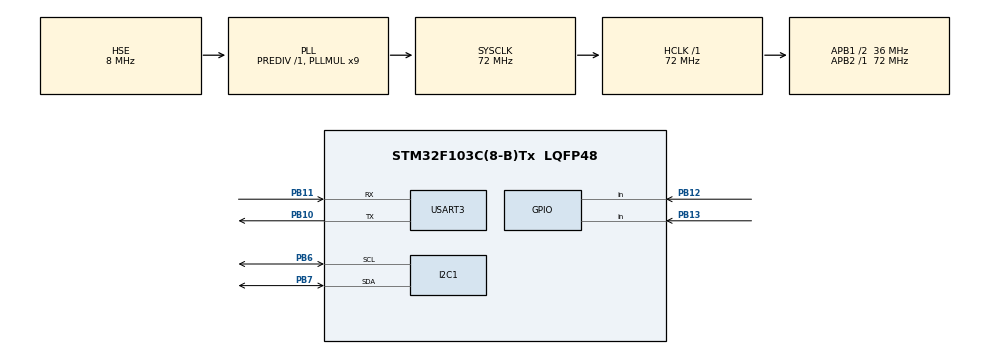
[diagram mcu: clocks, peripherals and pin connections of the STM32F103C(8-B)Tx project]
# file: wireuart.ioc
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Dma.Request0=USART3_TX
Dma.Request1=USART3_RX
Dma.USART3_RX.1.Direction=DMA_PERIPH_TO_MEMORY
Dma.USART3_RX.1.Instance=DMA1_Channel3
Dma.USART3_RX.1.MemDataAlignment=DMA_MDATAALIGN_BYTE
Dma.USART3_RX.1.MemInc=DMA_MINC_ENABLE
Dma.USART3_RX.1.Mode=DMA_NORMAL
Dma.USART3_RX.1.PeriphDataAlignment=DMA_PDATAALIGN_BYTE
Dma.USART3_RX.1.PeriphInc=DMA_PINC_DISABLE
Dma.USART3_RX.1.Priority=DMA_PRIORITY_LOW
Dma.USART3_TX.0.Direction=DMA_MEMORY_TO_PERIPH
Dma.USART3_TX.0.Instance=DMA1_Channel2
Dma.USART3_TX.0.MemDataAlignment=DMA_MDATAALIGN_BYTE
Dma.USART3_TX.0.MemInc=DMA_MINC_ENABLE
Dma.USART3_TX.0.Mode=DMA_NORMAL
Dma.USART3_TX.0.PeriphDataAlignment=DMA_PDATAALIGN_BYTE
Dma.USART3_TX.0.PeriphInc=DMA_PINC_DISABLE
Dma.USART3_TX.0.Priority=DMA_PRIORITY_LOW
I2C1.I2C_Mode=I2C_Fast
Mcu.Family=STM32F1
Mcu.Name=STM32F103C(8-B)Tx
Mcu.Package=LQFP48
NVIC.DMA1_Channel2_IRQn=true\:0\:0\:false\:false\:true\:false\:true\:true
NVIC.DMA1_Channel3_IRQn=true\:0\:0\:false\:false\:true\:false\:true\:true
NVIC.PriorityGroup=NVIC_PRIORITYGROUP_4
NVIC.USART3_IRQn=true\:0\:0\:false\:false\:true\:true\:true\:true
PA13.Mode=Serial_Wire
PA13.Signal=SYS_JTMS-SWDIO
PA14.Mode=Serial_Wire
PA14.Signal=SYS_JTCK-SWCLK
PB10.Mode=Asynchronous
PB10.Signal=USART3_TX
PB11.Mode=Asynchronous
PB11.Signal=USART3_RX
PB12.GPIO_PuPd=GPIO_PULLUP
PB12.Signal=GPIO_Input
PB13.GPIO_PuPd=GPIO_PULLUP
PB13.Signal=GPIO_Input
PB6.Mode=I2C
PB6.Signal=I2C1_SCL
PB7.Mode=I2C
PB7.Signal=I2C1_SDA
PD0-OSC_IN.Mode=HSE-External-Oscillator
PD0-OSC_IN.Signal=RCC_OSC_IN
PD1-OSC_OUT.Mode=HSE-External-Oscillator
PD1-OSC_OUT.Signal=RCC_OSC_OUT
ProjectManager.HeapSize=0x200
ProjectManager.StackSize=0x400
ProjectManager.TargetToolchain=MDK-ARM V5.32
RCC.AHBFreq_Value=72000000
RCC.APB1CLKDivider=RCC_HCLK_DIV2
RCC.APB1Freq_Value=36000000
RCC.APB1TimFreq_Value=72000000
RCC.APB2Freq_Value=72000000
RCC.APB2TimFreq_Value=72000000
RCC.HCLKFreq_Value=72000000
RCC.PLLMUL=RCC_PLL_MUL9
RCC.PLLSourceVirtual=RCC_PLLSOURCE_HSE
RCC.SYSCLKFreq_VALUE=72000000
RCC.SYSCLKSource=RCC_SYSCLKSOURCE_PLLCLK
RCC.USBFreq_Value=72000000
USART3.VirtualMode=VM_ASYNC
board=custom

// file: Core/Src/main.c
/* USER CODE BEGIN Header */
/**
  ******************************************************************************
  * @file           : main.c
  * @brief          : Main program body
  ******************************************************************************
  * @attention
  *
  * Copyright (c) 2026 STMicroelectronics.
  * All rights reserved.
  *
  * This software is licensed under terms that can be found in the LICENSE file
  * in the root directory of this software component.
  * If no LICENSE file comes with this software, it is provided AS-IS.
  *
  ******************************************************************************
  */
/* USER CODE END Header */
#include "main.h"
#include "dma.h"
#include "i2c.h"
#include "usart.h"
#include "gpio.h"

/* USER CODE BEGIN Includes */
#include "oled.h"
#include "stdio.h"
#include "string.h"
/* USER CODE END Includes */

/* USER CODE BEGIN PV */

uint8_t frame[7]={0xAA,0x00,0x00,0x01};
volatile uint8_t tx_busy = 0;
uint8_t rx_buf[106];
volatile uint16_t rx_len = 0;
volatile uint8_t rx_flag = 0;

/* USER CODE END PV */

void SystemClock_Config(void);

/* USER CODE BEGIN 0 */
void HAL_UART_RxCpltCallback(UART_HandleTypeDef *huart)
{
	if(huart==&huart3)
	{
		//HAL_UART_Transmit_IT(&huart3,rx_buf,106);
		HAL_UART_Receive_IT(&huart3,rx_buf,106);
		rx_flag = 1;
	}
}
void HAL_UART_TxCpltCallback(UART_HandleTypeDef *huart)
{
    if (huart == &huart3)
    {
        tx_busy = 0;

    }
}

/**void HAL_UARTEx_RxEventCallback(UART_HandleTypeDef *huart, uint16_t Size)
{
    if (huart == &huart3)
    {
        rx_len = Size;
        rx_flag = 1;

        // ���¿��� DMA ���գ��ǳ���Ҫ��
        HAL_UART_Receive_DMA(&huart3, rx_buf, sizeof(rx_buf));
        __HAL_DMA_DISABLE_IT(&hdma_usart3_rx, DMA_IT_HT);
    }
}**/
/* USER CODE END 0 */

int main(void)
{

  /* MCU Configuration--------------------------------------------------------*/

  /* Reset of all peripherals, Initializes the Flash interface and the Systick. */
  HAL_Init();

  /* Configure the system clock */
  SystemClock_Config();

  /* Initialize all configured peripherals */
  MX_GPIO_Init();
  MX_DMA_Init();
  MX_USART3_UART_Init();
  MX_I2C1_Init();
  /* USER CODE BEGIN 2 */
  HAL_Delay(20);
  OLED_Init();

  __HAL_DMA_DISABLE_IT(&hdma_usart3_rx,DMA_IT_HT);
  char head[4]="";
  char data[1]="";
  char checkout[2]="";
   uint8_t sendData=0;
  uint8_t sumcheck=0;
  uint8_t addcheck=0;
  uint8_t total=0;
  uint8_t error=0;

	tx_busy = 1;
	HAL_UART_Receive_IT(&huart3,rx_buf,106);
    OLED_NewFrame();
	OLED_PrintString(0,0,"ready",&font16x16,OLED_COLOR_NORMAL);
    OLED_ShowFrame();
	//HAL_UART_Receive_DMA(&huart3, rx_buf, sizeof(rx_buf));
	//__HAL_DMA_DISABLE_IT(&hdma_usart3_rx, DMA_IT_HT); // �رհ봫�ж�
	//HAL_UART_Transmit_DMA(&huart3, frame, 106);
	//HAL_UART_Receive_DMA(&huart3,frame,sizeof(frame));
  /* USER CODE END 2 */

  /* Infinite loop */
  /* USER CODE BEGIN WHILE */
  while (1)
  {

	  if(HAL_GPIO_ReadPin(GPIOB,GPIO_PIN_12)==GPIO_PIN_RESET)
	  {
		  if(HAL_GPIO_ReadPin(GPIOB,GPIO_PIN_12)==GPIO_PIN_RESET)
		  {
			 HAL_UART_Transmit_DMA(&huart3, frame, 7);
		     OLED_NewFrame();
			 OLED_PrintString(0,0,"senddata",&font16x16,OLED_COLOR_NORMAL);
			 OLED_ShowFrame();

		  }
		  while(HAL_GPIO_ReadPin(GPIOB,GPIO_PIN_12)==GPIO_PIN_RESET)
		  {
			  HAL_Delay(10);
		  }

	  }
	 if (rx_flag)
    {
        rx_flag = 0;
		frame[5]=0;
		frame[6]=0;
		uint8_t rx_sumcheck=0;
        uint8_t rx_addcheck=0;
		for(int i=0;i<104;i++)
		{
			rx_sumcheck+=rx_buf[i];
	        rx_addcheck+=rx_sumcheck;
		}
		if(rx_sumcheck==rx_buf[104]&&rx_addcheck==rx_buf[105])
		{
			total+=1;
			sendData=100*error/total;
			frame[4]=sendData;

			for(int i=0;i<5;i++)
			{
			sumcheck+=frame[i];
			addcheck+=sumcheck;
			}
			frame[5]=sumcheck;
			frame[6]=addcheck;
		OLED_NewFrame();
		sprintf(head, " %02X%02X%02X%02X", rx_buf[0],rx_buf[1],rx_buf[2],rx_buf[3]);
	    OLED_PrintString(0,0,"head",&font16x16,OLED_COLOR_NORMAL);
		OLED_PrintString(32,0,head,&font16x16,OLED_COLOR_NORMAL);
		sprintf(data, " %d", frame[4]);
		OLED_PrintString(0,16,"error",&font16x16,OLED_COLOR_NORMAL);
		OLED_PrintString(48,16,data,&font16x16,OLED_COLOR_NORMAL);
		sprintf(checkout, " %02X%02X", rx_buf[104],rx_buf[105]);
		OLED_PrintString(0,32,"checkout",&font16x16,OLED_COLOR_NORMAL);
		OLED_PrintString(64,32,checkout,&font16x16,OLED_COLOR_NORMAL);
		OLED_ShowFrame();
		sumcheck=0;
        addcheck=0;
		}
		else
		{

			error+=1;
			total+=1;
			sendData=100*error/total;
			frame[4]=sendData;

			for(int i=0;i<5;i++)
			{
			sumcheck+=frame[i];
			addcheck+=sumcheck;
			}
			frame[5]=sumcheck;
			frame[6]=addcheck;
		OLED_NewFrame();
		sprintf(data, " %d", frame[4]);
		OLED_PrintString(0,16,"error",&font16x16,OLED_COLOR_NORMAL);
		OLED_PrintString(48,16,data,&font16x16,OLED_COLOR_NORMAL);
		sprintf(checkout, " %02X%02X", rx_sumcheck,rx_addcheck);
		OLED_PrintString(0,32,"checkout",&font16x16,OLED_COLOR_NORMAL);
		OLED_PrintString(64,32,checkout,&font16x16,OLED_COLOR_NORMAL);
		OLED_ShowFrame();
	    sumcheck=0;
        addcheck=0;
		}

    }

    /* USER CODE END WHILE */

  }
}

void SystemClock_Config(void)
{
  RCC_OscInitTypeDef RCC_OscInitStruct = {0};
  RCC_ClkInitTypeDef RCC_ClkInitStruct = {0};

  /** Initializes the RCC Oscillators according to the specified parameters
  * in the RCC_OscInitTypeDef structure.
  */
  RCC_OscInitStruct.OscillatorType = RCC_OSCILLATORTYPE_HSE;
  RCC_OscInitStruct.HSEState = RCC_HSE_ON;
  RCC_OscInitStruct.HSEPredivValue = RCC_HSE_PREDIV_DIV1;
  RCC_OscInitStruct.HSIState = RCC_HSI_ON;
  RCC_OscInitStruct.PLL.PLLState = RCC_PLL_ON;
  RCC_OscInitStruct.PLL.PLLSource = RCC_PLLSOURCE_HSE;
  RCC_OscInitStruct.PLL.PLLMUL = RCC_PLL_MUL9;
  if (HAL_RCC_OscConfig(&RCC_OscInitStruct) != HAL_OK)
  {
    Error_Handler();
  }

  /** Initializes the CPU, AHB and APB buses clocks
  */
  RCC_ClkInitStruct.ClockType = RCC_CLOCKTYPE_HCLK|RCC_CLOCKTYPE_SYSCLK
                              |RCC_CLOCKTYPE_PCLK1|RCC_CLOCKTYPE_PCLK2;
  RCC_ClkInitStruct.SYSCLKSource = RCC_SYSCLKSOURCE_PLLCLK;
  RCC_ClkInitStruct.AHBCLKDivider = RCC_SYSCLK_DIV1;
  RCC_ClkInitStruct.APB1CLKDivider = RCC_HCLK_DIV2;
  RCC_ClkInitStruct.APB2CLKDivider = RCC_HCLK_DIV1;

  if (HAL_RCC_ClockConfig(&RCC_ClkInitStruct, FLASH_LATENCY_2) != HAL_OK)
  {
    Error_Handler();
  }
}

void Error_Handler(void)
{
  __disable_irq();
  while (1)
  {
  }
}
